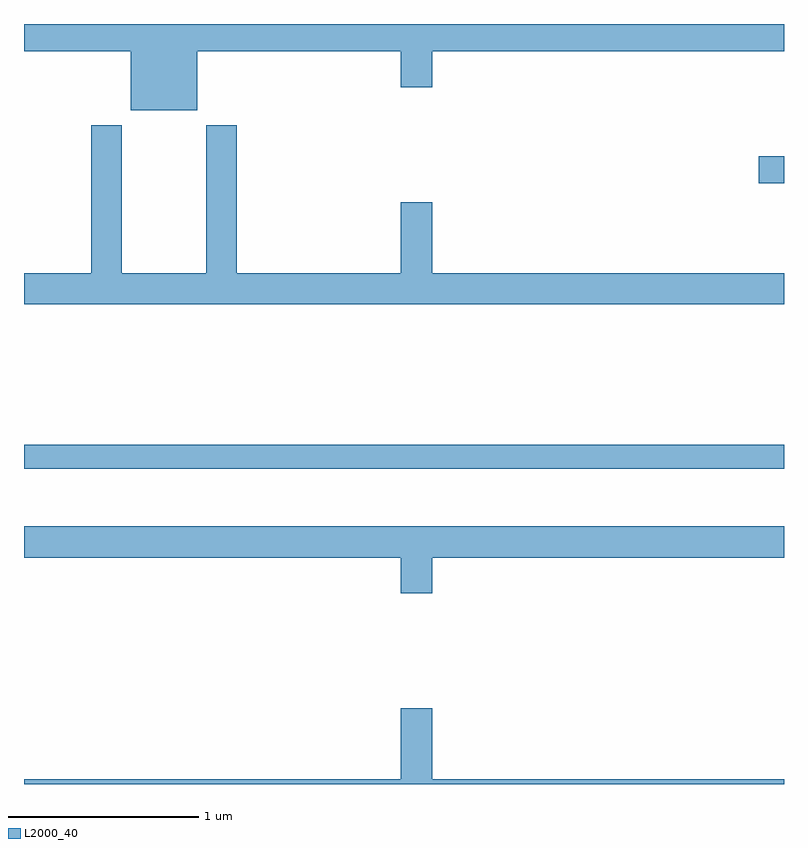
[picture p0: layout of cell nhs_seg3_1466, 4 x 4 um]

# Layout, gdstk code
import gdstk
lib = gdstk.Library(unit=1e-6, precision=1e-09)
def R(c, l, rs):  # rectangles x0, y0, x1, y1
    for r in rs: c.add(gdstk.rectangle(r[:2], r[2:], *l))
def P(c, l, *ps):  # polygons
    for p in ps: c.add(gdstk.Polygon(p, *l))
L2000_40 = (2000, 40)

nhs_seg3_1466 = lib.new_cell('nhs_seg3_1466')
R(nhs_seg3_1466, L2000_40, [(187,692.058,191,692.186), (190.866,693.562,191,693.704)])
P(nhs_seg3_1466, L2000_40, [(187.912,694.256),(188.984,694.256),(188.984,694.068),(189.148,694.068),(189.148,694.256),(191,694.256),(191,694.4),(187,694.4),(187,694.256),(187.562,694.256),(187.562,693.947),(187.912,693.947)],
  [(191,693.088),(189.148,693.088),(189.148,693.463),(188.984,693.463),(188.984,693.088),(188.12,693.088),(188.12,693.868),(187.96,693.868),(187.96,693.088),(187.515,693.088),(187.515,693.868),(187.355,693.868),(187.355,693.088),(187,693.088),(187,692.924),(191,692.924)],
  [(189.148,691.592),(191,691.592),(191,691.756),(187,691.756),(187,691.592),(188.984,691.592),(188.984,691.404),(189.148,691.404)],
  [(191,690.424),(189.148,690.424),(189.148,690.799),(188.984,690.799),(188.984,690.424),(187,690.424),(187,690.4),(191,690.4)])

lib.write_gds('nhs_seg3_1466.gds')
